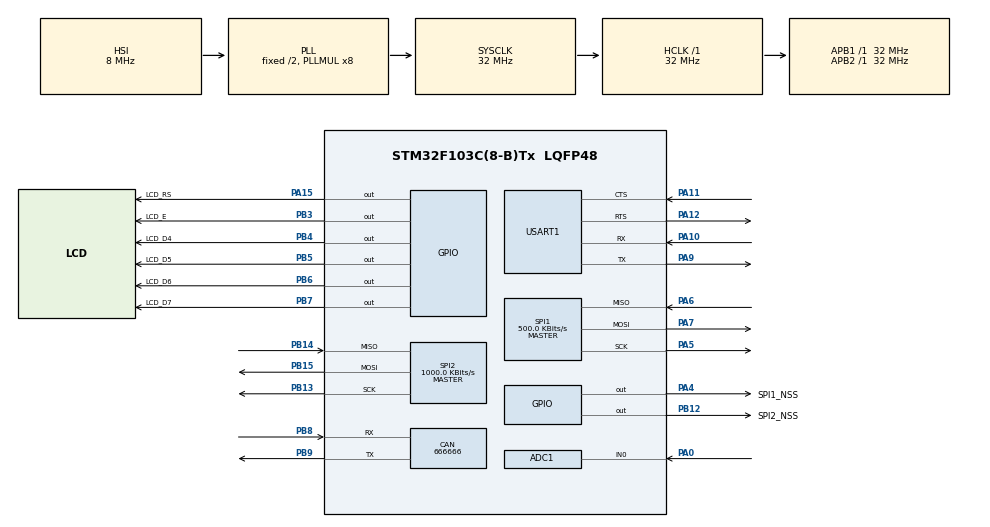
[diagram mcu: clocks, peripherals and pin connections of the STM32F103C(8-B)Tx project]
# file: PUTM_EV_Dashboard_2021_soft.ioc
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ADC1.Channel-0\#ChannelRegularConversion=ADC_CHANNEL_0
ADC1.NbrOfConversionFlag=1
ADC1.Rank-0\#ChannelRegularConversion=1
ADC1.SamplingTime-0\#ChannelRegularConversion=ADC_SAMPLETIME_1CYCLE_5
ADC1.master=1
CAN.CalculateBaudRate=666666
CAN.CalculateTimeBit=1500.00
CAN.CalculateTimeQuantum=500.0
Dma.Request0=SPI1_TX
Dma.Request1=SPI2_TX
Dma.SPI1_TX.0.Direction=DMA_MEMORY_TO_PERIPH
Dma.SPI1_TX.0.Instance=DMA1_Channel3
Dma.SPI1_TX.0.MemDataAlignment=DMA_MDATAALIGN_BYTE
Dma.SPI1_TX.0.MemInc=DMA_MINC_ENABLE
Dma.SPI1_TX.0.Mode=DMA_CIRCULAR
Dma.SPI1_TX.0.PeriphDataAlignment=DMA_PDATAALIGN_BYTE
Dma.SPI1_TX.0.PeriphInc=DMA_PINC_DISABLE
Dma.SPI1_TX.0.Priority=DMA_PRIORITY_LOW
Dma.SPI2_TX.1.Direction=DMA_MEMORY_TO_PERIPH
Dma.SPI2_TX.1.Instance=DMA1_Channel5
Dma.SPI2_TX.1.MemDataAlignment=DMA_MDATAALIGN_BYTE
Dma.SPI2_TX.1.MemInc=DMA_MINC_ENABLE
Dma.SPI2_TX.1.Mode=DMA_CIRCULAR
Dma.SPI2_TX.1.PeriphDataAlignment=DMA_PDATAALIGN_BYTE
Dma.SPI2_TX.1.PeriphInc=DMA_PINC_DISABLE
Dma.SPI2_TX.1.Priority=DMA_PRIORITY_LOW
Mcu.Family=STM32F1
Mcu.Name=STM32F103C(8-B)Tx
Mcu.Package=LQFP48
NVIC.DMA1_Channel3_IRQn=true\:0\:0\:false\:false\:true\:false\:true
NVIC.DMA1_Channel5_IRQn=true\:0\:0\:false\:false\:true\:false\:true
NVIC.PriorityGroup=NVIC_PRIORITYGROUP_4
NVIC.TIM2_IRQn=true\:0\:0\:false\:false\:true\:true\:true
NVIC.TIM3_IRQn=true\:0\:0\:false\:false\:true\:true\:true
NVIC.USART1_IRQn=true\:0\:0\:false\:false\:true\:true\:true
NVIC.USB_LP_CAN1_RX0_IRQn=true\:0\:0\:false\:false\:true\:true\:true
PA0-WKUP.Signal=ADCx_IN0
PA10.Mode=Asynchronous
PA10.Signal=USART1_RX
PA11.Mode=CTS_RTS
PA11.Signal=USART1_CTS
PA12.Mode=CTS_RTS
PA12.Signal=USART1_RTS
PA13.Mode=Serial_Wire
PA13.Signal=SYS_JTMS-SWDIO
PA14.Mode=Serial_Wire
PA14.Signal=SYS_JTCK-SWCLK
PA15.GPIO_Label=LCD_RS
PA15.Signal=GPIO_Output
PA4.GPIO_Label=SPI1_NSS
PA4.Signal=GPIO_Output
PA5.Mode=Full_Duplex_Master
PA5.Signal=SPI1_SCK
PA6.Mode=Full_Duplex_Master
PA6.Signal=SPI1_MISO
PA7.Mode=Full_Duplex_Master
PA7.Signal=SPI1_MOSI
PA9.Mode=Asynchronous
PA9.Signal=USART1_TX
PB12.GPIO_Label=SPI2_NSS
PB12.Signal=GPIO_Output
PB13.Mode=Full_Duplex_Master
PB13.Signal=SPI2_SCK
PB14.Mode=Full_Duplex_Master
PB14.Signal=SPI2_MISO
PB15.Mode=Full_Duplex_Master
PB15.Signal=SPI2_MOSI
PB3.GPIO_Label=LCD_E
PB3.Signal=GPIO_Output
PB4.GPIO_Label=LCD_D4
PB4.Signal=GPIO_Output
PB5.GPIO_Label=LCD_D5
PB5.Signal=GPIO_Output
PB6.GPIO_Label=LCD_D6
PB6.Signal=GPIO_Output
PB7.GPIO_Label=LCD_D7
PB7.Signal=GPIO_Output
PB8.Mode=CAN_Activate
PB8.Signal=CAN_RX
PB9.Mode=CAN_Activate
PB9.Signal=CAN_TX
ProjectManager.HeapSize=0x200
ProjectManager.StackSize=0x400
ProjectManager.TargetToolchain=STM32CubeIDE
RCC.ADCPresc=RCC_ADCPCLK2_DIV4
RCC.AHBFreq_Value=32000000
RCC.APB1Freq_Value=32000000
RCC.APB1TimFreq_Value=32000000
RCC.APB2Freq_Value=32000000
RCC.APB2TimFreq_Value=32000000
RCC.HCLKFreq_Value=32000000
RCC.PLLMUL=RCC_PLL_MUL8
RCC.SYSCLKFreq_VALUE=32000000
RCC.SYSCLKSource=RCC_SYSCLKSOURCE_PLLCLK
RCC.USBFreq_Value=32000000
SH.ADCx_IN0.0=ADC1_IN0,IN0
SPI1.BaudRatePrescaler=SPI_BAUDRATEPRESCALER_64
SPI1.CalculateBaudRate=500.0 KBits/s
SPI1.Direction=SPI_DIRECTION_2LINES
SPI1.Mode=SPI_MODE_MASTER
SPI1.VirtualType=VM_MASTER
SPI2.BaudRatePrescaler=SPI_BAUDRATEPRESCALER_32
SPI2.CalculateBaudRate=1000.0 KBits/s
SPI2.Direction=SPI_DIRECTION_2LINES
SPI2.Mode=SPI_MODE_MASTER
SPI2.VirtualType=VM_MASTER
TIM2.Period=49
TIM2.Prescaler=31999
TIM3.Period=2000
TIM3.Prescaler=31999
USART1.VirtualMode=VM_ASYNC
VP_TIM2_VS_ClockSourceINT.Mode=Internal
VP_TIM3_VS_ClockSourceINT.Mode=Internal
board=custom

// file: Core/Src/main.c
/* USER CODE BEGIN Header */
/**
  ******************************************************************************
  * @file           : main.c
  * @brief          : Main program body
  ******************************************************************************
  * @attention
  *
  * <h2><center>&copy; Copyright (c) 2020 STMicroelectronics.
  * All rights reserved.</center></h2>
  *
  * This software component is licensed by ST under BSD 3-Clause license,
  * the "License"; You may not use this file except in compliance with the
  * License. You may obtain a copy of the License at:
  *                        opensource.org/licenses/BSD-3-Clause
  *
  ******************************************************************************
  */
/* USER CODE END Header */
#include "main.h"

/* USER CODE BEGIN Includes */
#include <utilities.h>
#include <lcd_driver.h>
/* USER CODE END Includes */

ADC_HandleTypeDef hadc1;

CAN_HandleTypeDef hcan;

SPI_HandleTypeDef hspi1;
SPI_HandleTypeDef hspi2;
DMA_HandleTypeDef hdma_spi1_tx;
DMA_HandleTypeDef hdma_spi2_tx;

TIM_HandleTypeDef htim2;
TIM_HandleTypeDef htim3;

UART_HandleTypeDef huart1;

/* USER CODE BEGIN PV */
CAN_RxHeaderTypeDef RxHeader;
uint8_t RxData[8];

CAN_FilterTypeDef sFilterConfig;

uint8_t carSpeed;

uint8_t lvVoltage;
uint8_t lvTempAvg;
float lvTempMax;
uint8_t lvState;

uint8_t hvVoltage;
float hvTempAvg;
float hvTempMax;
uint8_t hvState;

float waterTemp1;
float waterTemp2;

uint16_t breakPreasure1;
uint16_t breakPreasure2;

uint8_t TSState;

uint8_t updateDisplays;
uint8_t speedOrHvPer;
uint32_t changeSegTimeStamp;
uint8_t error;

uint32_t ledArray1;
uint8_t ledArray2;
uint32_t segDisplayArray;

uint8_t updateAlfaNum;

/* USER CODE END PV */

void SystemClock_Config(void);

static void MX_GPIO_Init(void);

static void MX_DMA_Init(void);

static void MX_CAN_Init(void);

static void MX_SPI1_Init(void);

static void MX_SPI2_Init(void);

static void MX_USART1_UART_Init(void);

static void MX_TIM2_Init(void);

static void MX_ADC1_Init(void);

static void MX_TIM3_Init(void);

/* USER CODE BEGIN 0 */
void My_CAN_init(void);

/* USER CODE END 0 */

int main(void) {

    /* MCU Configuration--------------------------------------------------------*/

    /* Reset of all peripherals, Initializes the Flash interface and the Systick. */
    HAL_Init();

    /* Configure the system clock */
    SystemClock_Config();

    /* Initialize all configured peripherals */
    MX_GPIO_Init();
    MX_DMA_Init();
    MX_CAN_Init();
    MX_SPI1_Init();
    MX_SPI2_Init();
    MX_USART1_UART_Init();
    MX_TIM2_Init();
    MX_ADC1_Init();
    MX_TIM3_Init();
    /* USER CODE BEGIN 2 */

    My_CAN_init();

    HAL_TIM_Base_Start_IT(&htim2);
    HAL_TIM_Base_Start_IT(&htim3);

    updateDisplays = 0;
    speedOrHvPer = 0;
    error = 0;
    ledArray1 = 0;
    ledArray2 = 0;

    lcdInit();
    lcdMoveCursor(0, 0);
    lcdWriteString("Hello");
    lcdMoveCursor(1, 2);
    lcdWriteString("Hey");
    changeSegTimeStamp = 100;
    speedOrHvPer = 1;
    /* USER CODE END 2 */

    /* Infinite loop */
    /* USER CODE BEGIN WHILE */
    while (1) {
        uint8_t status = 0;
        if (updateDisplays) {
#ifndef TEST
            // send data to LED
            status |= sendLed();

            // send data to 7seg displays
            status |= send7Seg();

            if (updateAlfaNum) {
                // send data to alfanum display
                status |= sendAlfaNum();
                updateAlfaNum = 0;
            }
#else
            test();
#endif

            if (status != HAL_OK) {
                Error_Handler();
            }
            updateDisplays = 0;
        }

        if (status) {
            Error_Handler();
        }

        /* USER CODE END WHILE */

    }
}

void SystemClock_Config(void) {
    RCC_OscInitTypeDef RCC_OscInitStruct = {0};
    RCC_ClkInitTypeDef RCC_ClkInitStruct = {0};
    RCC_PeriphCLKInitTypeDef PeriphClkInit = {0};

    /** Initializes the RCC Oscillators according to the specified parameters
    * in the RCC_OscInitTypeDef structure.
    */
    RCC_OscInitStruct.OscillatorType = RCC_OSCILLATORTYPE_HSI;
    RCC_OscInitStruct.HSIState = RCC_HSI_ON;
    RCC_OscInitStruct.HSICalibrationValue = RCC_HSICALIBRATION_DEFAULT;
    RCC_OscInitStruct.PLL.PLLState = RCC_PLL_ON;
    RCC_OscInitStruct.PLL.PLLSource = RCC_PLLSOURCE_HSI_DIV2;
    RCC_OscInitStruct.PLL.PLLMUL = RCC_PLL_MUL8;
    if (HAL_RCC_OscConfig(&RCC_OscInitStruct) != HAL_OK) {
        Error_Handler();
    }
    /** Initializes the CPU, AHB and APB buses clocks
    */
    RCC_ClkInitStruct.ClockType = RCC_CLOCKTYPE_HCLK | RCC_CLOCKTYPE_SYSCLK
                                  | RCC_CLOCKTYPE_PCLK1 | RCC_CLOCKTYPE_PCLK2;
    RCC_ClkInitStruct.SYSCLKSource = RCC_SYSCLKSOURCE_PLLCLK;
    RCC_ClkInitStruct.AHBCLKDivider = RCC_SYSCLK_DIV1;
    RCC_ClkInitStruct.APB1CLKDivider = RCC_HCLK_DIV1;
    RCC_ClkInitStruct.APB2CLKDivider = RCC_HCLK_DIV1;

    if (HAL_RCC_ClockConfig(&RCC_ClkInitStruct, FLASH_LATENCY_1) != HAL_OK) {
        Error_Handler();
    }
    PeriphClkInit.PeriphClockSelection = RCC_PERIPHCLK_ADC;
    PeriphClkInit.AdcClockSelection = RCC_ADCPCLK2_DIV4;
    if (HAL_RCCEx_PeriphCLKConfig(&PeriphClkInit) != HAL_OK) {
        Error_Handler();
    }
}

static void MX_ADC1_Init(void) {

    ADC_ChannelConfTypeDef sConfig = {0};

    /** Common config
    */
    hadc1.Instance = ADC1;
    hadc1.Init.ScanConvMode = ADC_SCAN_DISABLE;
    hadc1.Init.ContinuousConvMode = DISABLE;
    hadc1.Init.DiscontinuousConvMode = DISABLE;
    hadc1.Init.ExternalTrigConv = ADC_SOFTWARE_START;
    hadc1.Init.DataAlign = ADC_DATAALIGN_RIGHT;
    hadc1.Init.NbrOfConversion = 1;
    if (HAL_ADC_Init(&hadc1) != HAL_OK) {
        Error_Handler();
    }
    /** Configure Regular Channel
    */
    sConfig.Channel = ADC_CHANNEL_0;
    sConfig.Rank = ADC_REGULAR_RANK_1;
    sConfig.SamplingTime = ADC_SAMPLETIME_1CYCLE_5;
    if (HAL_ADC_ConfigChannel(&hadc1, &sConfig) != HAL_OK) {
        Error_Handler();
    }

}

static void MX_CAN_Init(void) {

    hcan.Instance = CAN1;
    hcan.Init.Prescaler = 16;
    hcan.Init.Mode = CAN_MODE_NORMAL;
    hcan.Init.SyncJumpWidth = CAN_SJW_1TQ;
    hcan.Init.TimeSeg1 = CAN_BS1_1TQ;
    hcan.Init.TimeSeg2 = CAN_BS2_1TQ;
    hcan.Init.TimeTriggeredMode = DISABLE;
    hcan.Init.AutoBusOff = DISABLE;
    hcan.Init.AutoWakeUp = DISABLE;
    hcan.Init.AutoRetransmission = DISABLE;
    hcan.Init.ReceiveFifoLocked = DISABLE;
    hcan.Init.TransmitFifoPriority = DISABLE;
    if (HAL_CAN_Init(&hcan) != HAL_OK) {
        Error_Handler();
    }

}

static void MX_SPI1_Init(void) {

    /* SPI1 parameter configuration*/
    hspi1.Instance = SPI1;
    hspi1.Init.Mode = SPI_MODE_MASTER;
    hspi1.Init.Direction = SPI_DIRECTION_2LINES;
    hspi1.Init.DataSize = SPI_DATASIZE_8BIT;
    hspi1.Init.CLKPolarity = SPI_POLARITY_LOW;
    hspi1.Init.CLKPhase = SPI_PHASE_1EDGE;
    hspi1.Init.NSS = SPI_NSS_SOFT;
    hspi1.Init.BaudRatePrescaler = SPI_BAUDRATEPRESCALER_64;
    hspi1.Init.FirstBit = SPI_FIRSTBIT_MSB;
    hspi1.Init.TIMode = SPI_TIMODE_DISABLE;
    hspi1.Init.CRCCalculation = SPI_CRCCALCULATION_DISABLE;
    hspi1.Init.CRCPolynomial = 10;
    if (HAL_SPI_Init(&hspi1) != HAL_OK) {
        Error_Handler();
    }

}

static void MX_SPI2_Init(void) {

    /* SPI2 parameter configuration*/
    hspi2.Instance = SPI2;
    hspi2.Init.Mode = SPI_MODE_MASTER;
    hspi2.Init.Direction = SPI_DIRECTION_2LINES;
    hspi2.Init.DataSize = SPI_DATASIZE_8BIT;
    hspi2.Init.CLKPolarity = SPI_POLARITY_LOW;
    hspi2.Init.CLKPhase = SPI_PHASE_1EDGE;
    hspi2.Init.NSS = SPI_NSS_SOFT;
    hspi2.Init.BaudRatePrescaler = SPI_BAUDRATEPRESCALER_32;
    hspi2.Init.FirstBit = SPI_FIRSTBIT_MSB;
    hspi2.Init.TIMode = SPI_TIMODE_DISABLE;
    hspi2.Init.CRCCalculation = SPI_CRCCALCULATION_DISABLE;
    hspi2.Init.CRCPolynomial = 10;
    if (HAL_SPI_Init(&hspi2) != HAL_OK) {
        Error_Handler();
    }

}

static void MX_TIM2_Init(void) {

    TIM_ClockConfigTypeDef sClockSourceConfig = {0};
    TIM_MasterConfigTypeDef sMasterConfig = {0};

    htim2.Instance = TIM2;
    htim2.Init.Prescaler = 31999;
    htim2.Init.CounterMode = TIM_COUNTERMODE_UP;
    htim2.Init.Period = 49;
    htim2.Init.ClockDivision = TIM_CLOCKDIVISION_DIV1;
    htim2.Init.AutoReloadPreload = TIM_AUTORELOAD_PRELOAD_DISABLE;
    if (HAL_TIM_Base_Init(&htim2) != HAL_OK) {
        Error_Handler();
    }
    sClockSourceConfig.ClockSource = TIM_CLOCKSOURCE_INTERNAL;
    if (HAL_TIM_ConfigClockSource(&htim2, &sClockSourceConfig) != HAL_OK) {
        Error_Handler();
    }
    sMasterConfig.MasterOutputTrigger = TIM_TRGO_RESET;
    sMasterConfig.MasterSlaveMode = TIM_MASTERSLAVEMODE_DISABLE;
    if (HAL_TIMEx_MasterConfigSynchronization(&htim2, &sMasterConfig) != HAL_OK) {
        Error_Handler();
    }

}

static void MX_TIM3_Init(void) {

    TIM_ClockConfigTypeDef sClockSourceConfig = {0};
    TIM_MasterConfigTypeDef sMasterConfig = {0};

    htim3.Instance = TIM3;
    htim3.Init.Prescaler = 31999;
    htim3.Init.CounterMode = TIM_COUNTERMODE_UP;
    htim3.Init.Period = 2000;
    htim3.Init.ClockDivision = TIM_CLOCKDIVISION_DIV1;
    htim3.Init.AutoReloadPreload = TIM_AUTORELOAD_PRELOAD_DISABLE;
    if (HAL_TIM_Base_Init(&htim3) != HAL_OK) {
        Error_Handler();
    }
    sClockSourceConfig.ClockSource = TIM_CLOCKSOURCE_INTERNAL;
    if (HAL_TIM_ConfigClockSource(&htim3, &sClockSourceConfig) != HAL_OK) {
        Error_Handler();
    }
    sMasterConfig.MasterOutputTrigger = TIM_TRGO_RESET;
    sMasterConfig.MasterSlaveMode = TIM_MASTERSLAVEMODE_DISABLE;
    if (HAL_TIMEx_MasterConfigSynchronization(&htim3, &sMasterConfig) != HAL_OK) {
        Error_Handler();
    }

}

static void MX_USART1_UART_Init(void) {

    huart1.Instance = USART1;
    huart1.Init.BaudRate = 115200;
    huart1.Init.WordLength = UART_WORDLENGTH_8B;
    huart1.Init.StopBits = UART_STOPBITS_1;
    huart1.Init.Parity = UART_PARITY_NONE;
    huart1.Init.Mode = UART_MODE_TX_RX;
    huart1.Init.HwFlowCtl = UART_HWCONTROL_RTS_CTS;
    huart1.Init.OverSampling = UART_OVERSAMPLING_16;
    if (HAL_UART_Init(&huart1) != HAL_OK) {
        Error_Handler();
    }

}

static void MX_DMA_Init(void) {

    /* DMA controller clock enable */
    __HAL_RCC_DMA1_CLK_ENABLE();

    /* DMA interrupt init */
    /* DMA1_Channel3_IRQn interrupt configuration */
    HAL_NVIC_SetPriority(DMA1_Channel3_IRQn, 0, 0);
    HAL_NVIC_EnableIRQ(DMA1_Channel3_IRQn);
    /* DMA1_Channel5_IRQn interrupt configuration */
    HAL_NVIC_SetPriority(DMA1_Channel5_IRQn, 0, 0);
    HAL_NVIC_EnableIRQ(DMA1_Channel5_IRQn);

}

static void MX_GPIO_Init(void) {
    GPIO_InitTypeDef GPIO_InitStruct = {0};

    /* GPIO Ports Clock Enable */
    __HAL_RCC_GPIOA_CLK_ENABLE();
    __HAL_RCC_GPIOB_CLK_ENABLE();

    /*Configure GPIO pin Output Level */
    HAL_GPIO_WritePin(GPIOA, SPI1_NSS_Pin | LCD_RS_Pin, GPIO_PIN_RESET);

    /*Configure GPIO pin Output Level */
    HAL_GPIO_WritePin(GPIOB, SPI2_NSS_Pin | LCD_E_Pin | LCD_D4_Pin | LCD_D5_Pin
                             | LCD_D6_Pin | LCD_D7_Pin, GPIO_PIN_RESET);

    /*Configure GPIO pins : SPI1_NSS_Pin LCD_RS_Pin */
    GPIO_InitStruct.Pin = SPI1_NSS_Pin | LCD_RS_Pin;
    GPIO_InitStruct.Mode = GPIO_MODE_OUTPUT_PP;
    GPIO_InitStruct.Pull = GPIO_NOPULL;
    GPIO_InitStruct.Speed = GPIO_SPEED_FREQ_LOW;
    HAL_GPIO_Init(GPIOA, &GPIO_InitStruct);

    /*Configure GPIO pins : SPI2_NSS_Pin LCD_E_Pin LCD_D4_Pin LCD_D5_Pin
                             LCD_D6_Pin LCD_D7_Pin */
    GPIO_InitStruct.Pin = SPI2_NSS_Pin | LCD_E_Pin | LCD_D4_Pin | LCD_D5_Pin
                          | LCD_D6_Pin | LCD_D7_Pin;
    GPIO_InitStruct.Mode = GPIO_MODE_OUTPUT_PP;
    GPIO_InitStruct.Pull = GPIO_NOPULL;
    GPIO_InitStruct.Speed = GPIO_SPEED_FREQ_LOW;
    HAL_GPIO_Init(GPIOB, &GPIO_InitStruct);

}

/* USER CODE BEGIN 4 */
void My_CAN_init(void) {
    sFilterConfig.FilterBank = 0;
    sFilterConfig.FilterMode = CAN_FILTERMODE_IDMASK;
    sFilterConfig.FilterScale = CAN_FILTERSCALE_32BIT;
    sFilterConfig.FilterIdHigh = 0x0000;
    sFilterConfig.FilterIdLow = 0x0000;
    sFilterConfig.FilterMaskIdHigh = 0x0000;
    sFilterConfig.FilterMaskIdLow = 0x0000;
    sFilterConfig.FilterFIFOAssignment = CAN_RX_FIFO0;
    sFilterConfig.FilterActivation = ENABLE;
    sFilterConfig.SlaveStartFilterBank = 14;

    if (HAL_CAN_ConfigFilter(&hcan, &sFilterConfig) != HAL_OK) {
        Error_Handler();
    }

    if (HAL_CAN_Start(&hcan) != HAL_OK) {
        Error_Handler();
    }

    if (HAL_CAN_ActivateNotification(&hcan, CAN_IT_RX_FIFO0_MSG_PENDING | CAN_IT_TX_MAILBOX_EMPTY) != HAL_OK) {
        Error_Handler();
    }
}

/* USER CODE END 4 */

void Error_Handler(void) {
    /* USER CODE BEGIN Error_Handler_Debug */
    /* User can add his own implementation to report the HAL error return state */

    HAL_GPIO_TogglePin(GPIOA, GPIO_PIN_5);
    while (1) { ;
    }

    /* USER CODE END Error_Handler_Debug */
}

/************************ (C) COPYRIGHT STMicroelectronics *****END OF FILE****/
